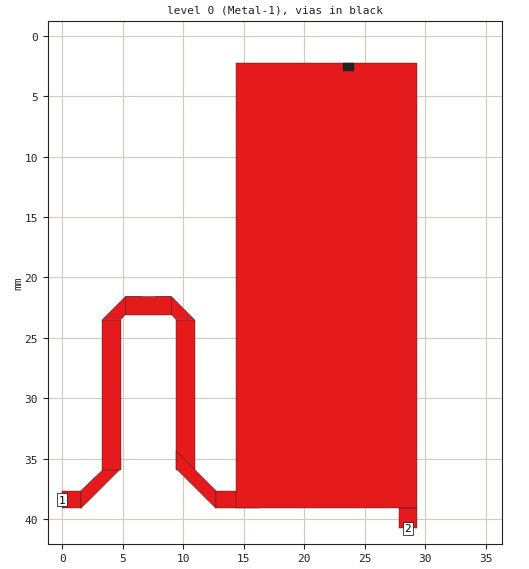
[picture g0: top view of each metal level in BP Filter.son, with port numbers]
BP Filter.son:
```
FTYP SONPROJ 13 ! Sonnet Project File
VER 15.53.lite
HEADER
LIC SL00000.101 54685406b314 ATL5C9AD8E4ED89 z003kx7y
DAT 04/28/2016 15:57:10
BUILT_BY_CREATED xgeom 15.53-Lite 04/28/2016 14:10:25
BUILT_BY_SAVED xgeom 15.53-Lite
MDATE 04/28/2016 15:57:10
HDATE 04/28/2016 15:57:10
END HEADER
DIM
FREQ GHZ
IND NH
LNG MM
ANG DEG
CON /OH
CAP PF
RES OH
END DIM
FREQ
SIMPLE 1.0 2.0 1.0
ABS 0.5 1.8 
END FREQ
CONTROL
ABS
OPTIONS  -d 
SPEED 0
CACHE_ABS 1
TARG_ABS 300
Q_ACC N
END CONTROL
GEO
TMET "Lossless" 0 SUP 0 0 0 0
BMET "Lossless" 0 SUP 0 0 0 0
BOX 1 35.1 40.8 552 642 20 0
      5 1 1 0 0 0 0 "Air"
      0.7999999999 4.5 1 0 0 0 0 "FR4"
TECHLAY METAL Metal-1 <UNSPECIFIED> -2 0 
0 0 -1 N 0 1 1 100 100 0 0 0 Y
END
END
TECHLAY VIA Via-1 <UNSPECIFIED> -3 0 
VIA POLYGON
1 0 -1 N 0 1 1 100 100 0 0 0 Y
TOLEVEL 0 RING NOCOVERS
END
END
LORGN 0 40.8 U 
POR1 STD
POLY 10 1
3
1 50 0 0 0 0 38.37370654 
POR1 STD
POLY 21 1
2
2 50 0 0 0 28.57273956 40.75887747 
NUM 12
0 5 -1 N 10 1 1 100 100 0 0 0 Y
TLAYNAM Metal-1 INH
0 37.63953605
1.525423728 37.63953605
1.525423728 39.10787703
0 39.10787703
0 37.63953605
END
0 5 -1 N 12 1 1 100 100 0 0 0 Y
TLAYNAM Metal-1 INH
1.525423596 37.63837108
4.830507903 34.47570862
4.830507903 35.81335693
1.525423596 39.10787703
1.525423596 37.63837108
END
0 5 -1 N 13 1 1 100 100 0 0 0 Y
TLAYNAM Metal-1 INH
3.30199983 23.48687937
4.830507903 23.48687937
4.830507903 35.93287967
3.30199983 35.93287967
3.30199983 23.48687937
END
0 5 -1 N 14 1 1 100 100 0 0 0 Y
TLAYNAM Metal-1 INH
3.305085864 23.48687823
5.205878163 21.5818783
6.551669731 21.5818783
4.825999837 23.48687823
3.305085864 23.48687823
END
0 5 -1 N 15 1 1 100 100 0 0 0 Y
TLAYNAM Metal-1 INH
9.39799918 23.48687937
10.9265079 23.48687937
10.9265079 35.93287967
9.39799918 35.93287967
9.39799918 23.48687937
END
0 5 -1 N 16 1 1 100 100 0 0 0 Y
TLAYNAM Metal-1 INH
10.922 23.4868785
9.021208554 21.58187873
7.670907587 21.58187873
9.3965776 23.4868785
10.922 23.4868785
END
0 5 -1 N 17 1 1 100 100 0 0 0 Y
TLAYNAM Metal-1 INH
5.206999901 21.5818785
9.019056768 21.5818785
9.012884569 23.10587817
5.206999901 23.10587817
5.206999901 21.5818785
END
0 5 -1 N 18 1 1 100 100 0 0 0 Y
TLAYNAM Metal-1 INH
12.70450883 37.63953023
9.3994224 34.3450102
9.3994224 35.81298217
12.70450883 39.1075022
12.70450883 37.63953023
END
0 5 -1 N 19 1 1 100 100 0 0 0 Y
TLAYNAM Metal-1 INH
12.7045085 37.6395299
16.256 37.6395299
16.256 39.1078783
12.7045085 39.1078783
12.7045085 37.6395299
END
0 5 -1 N 20 1 1 100 100 0 0 0 Y
TLAYNAM Metal-1 INH
14.34873913 2.277878597
29.33473912 2.277878597
29.33473912 39.1078783
14.34873913 39.1078783
14.34873913 2.277878597
END
0 5 -1 N 21 1 1 100 100 0 0 0 Y
TLAYNAM Metal-1 INH
27.81074 39.1078783
29.33473913 39.1078783
29.33473913 40.75887747
27.81074 40.75887747
27.81074 39.1078783
END
VIA POLYGON
0 5 -1 N 32 1 1 100 100 0 0 0 Y
TOLEVEL 1 RING NOCOVERS
23.24100074 2.277878596
24.12999861 2.277878596
24.12999861 2.912879093
23.24100074 2.912879093
23.24100074 2.277878596
END
END GEO
OPT
MAX 100
VARS
END
END OPT
VARSWP
END VARSWP
QSG
IMPORT NO
EXTRA_METAL NO
UNITS YES
ALIGN NO
REF NO
VIEW_RES YES
METALS YES
USED NO
END QSG
```
